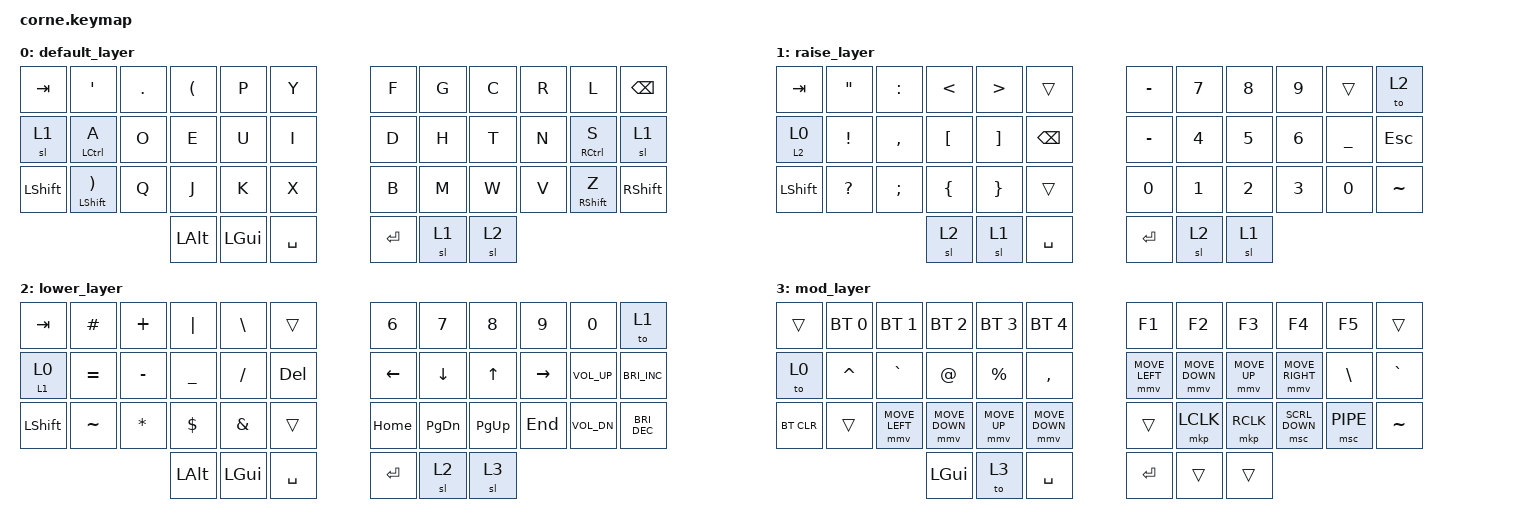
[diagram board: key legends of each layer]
/*
 * Copyright (c) 2020 The ZMK Contributors
 *
 * SPDX-License-Identifier: MIT
 */

#include <behaviors.dtsi>
#include <dt-bindings/zmk/keys.h>
#include <dt-bindings/zmk/bt.h>
#define ZMK_POINTING_DEFAULT_MOVE_VAL 1200
#include <dt-bindings/zmk/pointing.h>

&mt {
    tapping-term-ms = <200>;
};

&lt {
    tapping-term-ms = <100>;
};

// -- Sticky layer configuration
&sl {
    release-after-ms = <1000>;
};


// -- Combo configuration

/ {
    combos {
        compatible = "zmk,combos";
        combo_mod_layer {
            timeout-ms = <200>;
            key-positions = <40 41>;
            bindings = < &sl 3 >;
        };
    };
};


// -- Keymap configuration

/ {

    behaviors {
        tto: tap_toggle_behavior {
            compatible = "zmk,behavior-hold-tap";
            #binding-cells = <2>;
            flavor = "hold-preferred";
            tapping-term-ms = <5000>; 
            bindings = <&mo>, <&to>;
        };
        hrm: home_row_modifiers {
            compatible = "zmk,behavior-hold-tap";
            #binding-cells = <2>;
            flavor = "tap-preferred";
            tapping-term-ms = <200>;
            require-prior-idle-ms = <100>;
            bindings = <&kp>, <&kp>;
        };
    };

    keymap {
        compatible = "zmk,keymap";

        default_layer {
            // ------------------------------------------------------------------------------------------------
            // |  TAB |  '         |  .  |  (  |  P  |  Y  |   |  F  |  G   |  C  |  R  |  L          | BKSP  |
            // | CTRL | CTRL // A  |  O  |  E  |  U  |  I  |   |  D  |  H   |  T  |  N  |  CTRL // S  |  ESC  |
            // | SHFT | SHFT // )  |  Q  |  J  |  K  |  X  |   |  B  |  M   |  W  |  V  |  SHFT // Z  | SHFT  |
            //                    | ALT | GUI | SPC |   | RET | LWR | RSE |
            bindings = <
                &kp TAB     &kp SQT         &kp DOT   &kp LPAR &kp P &kp Y      &kp F   &kp G   &kp C   &kp R   &kp L         &kp BSPC
                &sl 1       &hrm LCTRL A    &kp O     &kp E    &kp U &kp I      &kp D   &kp H   &kp T   &kp N   &hrm RCTRL S  &sl 1
                &kp LSHFT   &mt LSHFT RPAR  &kp Q     &kp J    &kp K &kp X      &kp B   &kp M   &kp W   &kp V   &mt RSHFT Z   &kp RSHFT

                &kp LALT &kp LGUI &kp SPACE                                     &kp RET   &sl 1   &sl 2
            >;
        };

        raise_layer {
            // -- 1 --
            // -----------------------------------------------------------------------------------------
            // | TAB  |  "  |  :  |  <  |  >  |     |      |  -  |  7  |  8  |  9  |     |      |
            // | CTRL |  !  |  ,  |  [  |  ]  | BKSP|      |  -  |  4  |  5  |  6  |     |  esc   |
            // | SHFT |  ?  |  ;  |  {  |  }  |     |      |  0  |  1  |  2  |  3  |     |  ~   |
            //                    | GUI |     | SPC |      | ENT |     | ALT |
            bindings = <
                &kp TAB     &kp DQT    &kp COLON  &kp LT    &kp GT    &trans        &kp MINUS   &kp N7  &kp N8  &kp N9  &trans  &to 2
                &tto 2 0    &kp EXCL   &kp COMMA  &kp LBKT  &kp RBKT  &kp BSPC      &kp MINUS   &kp N4  &kp N5  &kp N6  &kp UNDER  &kp ESC
                &kp LSHFT   &kp QMARK  &kp SEMI   &kp LBRC  &kp RBRC  &trans        &kp N0      &kp N1  &kp N2  &kp N3  &kp N0  &kp TILDE

                &sl 2       &sl 1          &kp SPACE                                &kp RET     &sl 2      &sl 1
            >;
        };

        lower_layer {
            // -- 2 --
            // -----------------------------------------------------------------------------------------
            // |  TAB |  #  |  +  |  |  |  \  |     |       |  6   |  7    |  8   |  9  |  0      | BKSP |
            // |      |  =  |  -  |  _  |  /  | DEL |       | LFT  | DWN   |  UP   | RGT | VOL+   | BRI+     |
            // | SHFT |  ~  |  *  |  $  |  &  |     |       | HOME | PG_DN | PG_UP | END | VOL- | BRI-     |
            //                    | GUI | ALT | SPC |       | ENT  |     |     |
            bindings = <
            &kp TAB     &kp HASH   &kp PLUS   &kp PIPE   &kp BSLH   &trans      &kp N6       &kp N7        &kp N8      &kp N9       &kp N0         &to 1
            &tto 1 0    &kp EQUAL  &kp MINUS  &kp UNDER  &kp SLASH  &kp DEL     &kp LEFT     &kp DOWN      &kp UP      &kp RIGHT    &kp C_VOL_UP   &kp C_BRI_INC
            &kp LSHFT   &kp TILDE  &kp ASTRK  &kp DLLR   &kp AMPS   &trans      &kp HOME     &kp PG_DN     &kp PG_UP   &kp END     &kp C_VOL_DN   &kp C_BRI_DEC

            &kp LALT    &kp LGUI        &kp SPACE                               &kp RET     &sl 2       &sl 3
            >;
        };


        mod_layer {
            // -----------------------------------------------------------------------------------------
            // |       | BT1 | BT2 | BT3 | BT4 | BT5 |        | F1 | F2 | F3 | F4 | F5 |      |
            // | CTRL  |  ^  |  `  |  `  |  @  |  comma  |    |  -  |  =  |  [  |  ]  |  \  |  `   |
            // | BTCLR |     | MS_LF | MS_DN  |     |     |        |  _  |  +  |  {  |  }  | "|" |  ~   |
            //                    | GUI |  MS_LB | SPC |         | ENT |     | ALT |
            bindings = <
            &trans &bt BT_SEL 0 &bt BT_SEL 1 &bt BT_SEL 2 &bt BT_SEL 3 &bt BT_SEL 4     &kp F1         &kp F2         &kp F3       &kp F4          &kp F5   &trans
            &to 0     &kp CARET &kp GRAVE    &kp AT   &kp PRCNT     &kp COMMA           &mmv MOVE_LEFT &mmv MOVE_DOWN &mmv MOVE_UP &mmv MOVE_RIGHT &kp BSLH &kp GRAVE
            &bt BT_CLR &trans &mmv MOVE_LEFT &mmv MOVE_DOWN &mmv MOVE_UP &mmv MOVE_DOWN  &trans   &mkp LCLK &mkp RCLK  &msc SCRL_DOWN &msc PIPE &kp TILDE

                &kp LGUI &to 3   &kp SPACE                                               &kp RET   &trans    &trans
            >;
        };
    }; // keymap
};
